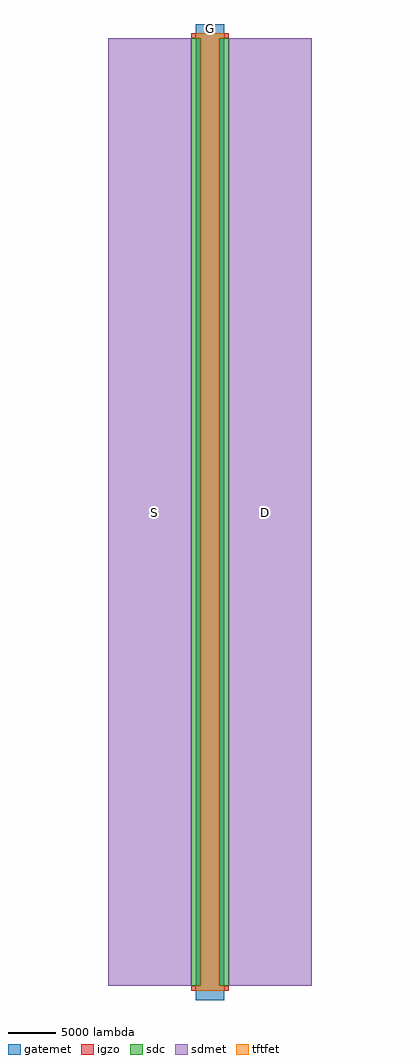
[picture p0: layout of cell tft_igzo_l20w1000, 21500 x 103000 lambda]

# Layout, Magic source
magic
tech igzo_mmm_lab
<< igzo >>
rect -2000 50000 -1500 50500
rect 1500 50000 2000 50500
rect -2000 -50500 -1500 -50000
rect 1500 -50500 2000 -50000
<< tftfet >>
rect -1500 50000 1500 50500
rect -1000 -50000 1000 50000
rect -1500 -50500 1500 -50000
<< sdc >>
rect -2000 -50000 -1000 50000
rect 1000 -50000 2000 50000
<< sdmet >>
rect -10750 -50000 -2000 50000
rect 2000 -50000 10750 50000
<< gatemet >>
rect -1500 -51500 1500 51500
<< labels >>
rlabel sdmet s -6363 -488 -5387 488 4 S
port 3 nsew
rlabel sdmet s 5387 -488 6363 488 4 D
port 5 nsew
rlabel gatemet s -488 50512 488 51488 4 G
port 7 nsew
<< end >>
